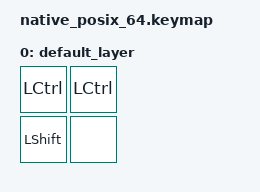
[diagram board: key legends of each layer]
#include <dt-bindings/zmk/keys.h>
#include <behaviors.dtsi>
#include <dt-bindings/zmk/kscan-mock.h>


&kscan {
	events = <
	>;
};

/ {
	keymap {
		compatible = "zmk,keymap";
		label ="Default keymap";

		default_layer {
			bindings = <
				&kp LEFT_CONTROL &kp LEFT_CONTROL
				&kp LEFT_SHIFT &none
			>;
		};
	};
};
